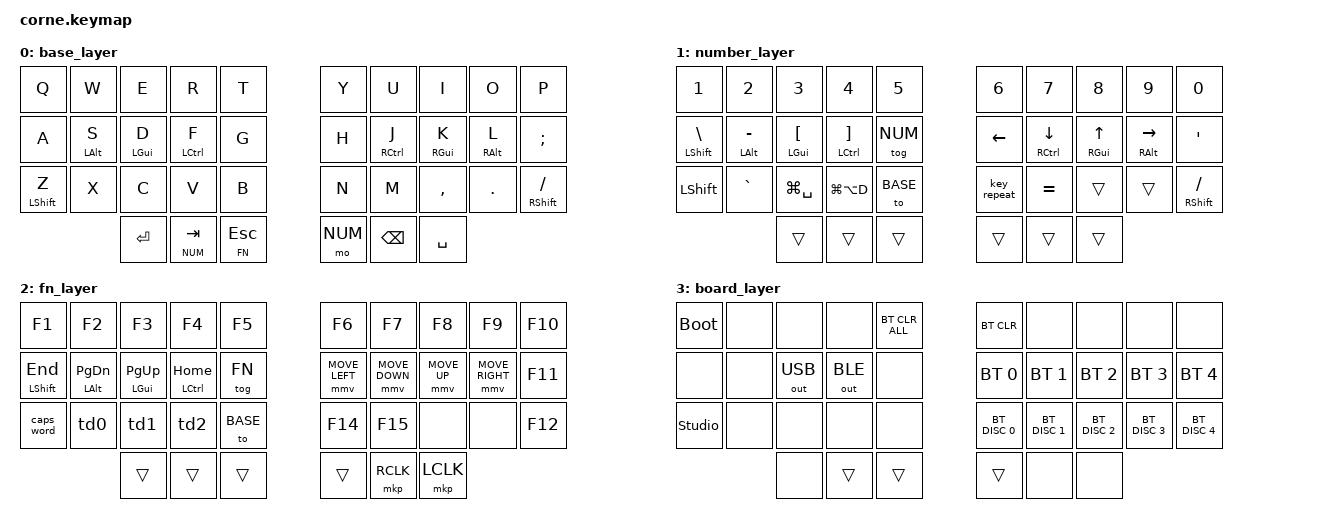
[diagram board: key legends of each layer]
#include <dt-bindings/zmk/keys.h>
#include <dt-bindings/zmk/outputs.h>
#include <dt-bindings/zmk/bt.h>
#include <dt-bindings/zmk/pointing.h>

#include <behaviors.dtsi>

#include "keys/36.h"

// global
#define QUICK_TAP_MS 150
#define TAPPING_TERM_MS 200
#define PRIOR_IDLE_MS 150

// layers
#define BASE 0
#define NUM 1
#define FN 2
#define BOARD 3

#define ___      &trans      //  transparent
#define _x_      &none

// tap: sticky-shift | shift + tap/ double-tap: caps-word | hold: shift
// ZMK_MOD_MORPH(smart_shift,
//     bindings = <&sk LSHFT>, <&caps_word>;
//     mods = <(MOD_LSFT)>;
// )

/ {
    behaviors {
        hml: home_row_mod_left {
            compatible = "zmk,behavior-hold-tap";
            #binding-cells = <2>;
            flavor = "balanced";
            require-prior-idle-ms = <PRIOR_IDLE_MS>;
            tapping-term-ms = <TAPPING_TERM_MS>;
            quick-tap-ms = <QUICK_TAP_MS>;
            bindings = <&kp>, <&kp>;
            hold-trigger-on-release;
        };
        hmr: home_row_mod_right {
            compatible = "zmk,behavior-hold-tap";
            #binding-cells = <2>;
            flavor = "balanced";
            require-prior-idle-ms = <PRIOR_IDLE_MS>;
            tapping-term-ms = <TAPPING_TERM_MS>;
            quick-tap-ms = <QUICK_TAP_MS>;
            bindings = <&kp>, <&kp>;
            hold-trigger-on-release;
        };
    };
};

/ {
  chosen {
    zmk,matrix_transform = &five_column_transform;
  };
};
/ {
  combos {
      compatible = "zmk,combos";
//      iu_backspace_combo {
//        timeout-ms = <50>; // Adjust as needed
//        bindings = <&kp COLON>; // Action: Backspace
//        key-positions = <16 17>;
//        layers = < BASE >;
//      };
//      jk_colon_combo {
//        timeout-ms = <50>; // Adjust as needed
//        bindings = <&smart_shift>; // Action: Backspace
//        key-positions = <12 13>;
//        layers = < BASE >;
//      };

  };
  behaviors {
    td0: tap_dance_0 {
       compatible = "zmk,behavior-tap-dance";
       #binding-cells = <0>;
       tapping-term-ms = <200>;
       bindings = <&kp C_VOL_DN>, <&kp C_PREV>;
    };
    td1: tap_dance_1 {
       compatible = "zmk,behavior-tap-dance";
       #binding-cells = <0>;
       tapping-term-ms = <200>;
       bindings = <&kp C_MUTE>, <&kp C_PP>;
    };
    td2: tap_dance_2 {
       compatible = "zmk,behavior-tap-dance";
       #binding-cells = <0>;
       tapping-term-ms = <200>;
       bindings = <&kp C_VOL_UP>, <&kp C_NEXT>;
    };
    shift_z: shift_z {
       compatible = "zmk,behavior-tap-dance";
       #binding-cells = <0>;
       tapping-term-ms = <200>;
       bindings = <&kp LSHIFT>, <&kp Z>;
    };
  };
  conditional_layers {
    compatible = "zmk,conditional-layers";
    tri_layer {
      if-layers = <1 2>;
      then-layer = <3>;
    };
  };
};

/ {
  keymap {
    compatible = "zmk,keymap";

    base_layer {
      bindings = <
        // |---------------|--------------|-------------|--------------|-------------|   |-----------|--------------|-------------|--------------|------------------|
        // |     Q         |      W       |     E       |      R       |     T       |   |     Y     |      U       |     I       |     O        |         P        |
              &kp Q            &kp W          &kp E         &kp R         &kp T             &kp Y       &kp U         &kp I          &kp O              &kp P
        // |---------------|--------------|-------------|--------------|-------------|   |-----------|--------------|-------------|--------------|------------------|
        // |     A         |      S       |     D       |      F       |     G       |   |     H     |      J       |     K       |     L        |         ;        |
                &kp A         &hml LALT S   &hml LGUI D  &hml LCTRL F    &kp G             &kp H      &hmr RCTRL J   &hmr RGUI K    &hmr RALT L         &kp SEMI
        // |---------------|--------------|-------------|--------------|-------------|   |-----------|--------------|-------------|--------------|------------------|
        // |     Z         |      X       |     C       |      V       |     B       |   |     N     |      M       |     ,       |     .        |         /        |
             &mt LSHIFT Z       &kp X         &kp C          &kp V         &kp B             &kp N        &kp M         &kp COMMA     &kp DOT      &mt RSHIFT FSLH
        // |---------------|--------------|-------------|--------------|-------------|   |-----------|--------------|-------------|--------------|------------------|
                                             &kp RETURN    &lt NUM TAB   &lt FN ESC         &mo NUM     &kp BSPC       &kp SPACE
        //                                |-------------|--------------|-------------|   |-----------|--------------|-------------|
      >;
    };

    number_layer {
      bindings = <
        // |---------------|---------------|---------------|----------------|-------------|   |-----------|----------------|-------------|---------------|-----------------|
        // |      1        |        2      |       3       |       4        |     5       |   |     6     |      7         |     8       |       9       |         0       |
               &kp N1            &kp N2         &kp N3          &kp N4         &kp N5            &kp N6       &kp N7           &kp N8          &kp N9            &kp N0
        // |---------------|---------------|---------------|----------------|-------------|   |-----------|----------------|-------------|---------------|-----------------|
        // |      \        |        -      |      [        |       ]        | Lock Layer  |   |    Left   |      Down      |      Up     |     Right     |        '        |
            &hml LSHIFT BSLH &hml LALT MINUS &hml LGUI LBKT &hml LCTRL RBKT    &tog NUM         &kp LEFT   &hmr RCTRL DOWN &hmr RGUI UP   &hmr RALT RIGHT  &kp APOS
        // |---------------|---------------|---------------|----------------|-------------|   |-----------|----------------|-------------|---------------|-----------------|
        // |    shift      |        `      |   Spotlight   |   Toggle dock  |    BASE     |   |   Repeat  |      =         |             |               |        /        |
              &kp LSHIFT      &kp GRAVE      &kp LG(SPACE)   &kp LG(LA(D))     &to BASE        &key_repeat    &kp EQUAL          ___            ___        &mt RSHIFT FSLH
        // |---------------|---------------|---------------|----------------|-------------|   |-----------|----------------|-------------|---------------|-----------------|
                                                  ___             ___             ___              ___           ___             ___
        //                                 |---------------|----------------|-------------|   |-----------|----------------|-------------|
      >;
    };

    fn_layer {
      bindings = <
        // |---------------|---------------|----------------|----------------|-------------|   |--------------|---------------|------------|---------------|-----------------|
        // |     F1        |       F2      |      F3        |      F4        |    F5       |   |     F6       |     F7        |    F8      |      F9       |       F10       |
               &kp F1            &kp F2         &kp F3           &kp F4         &kp F5             &kp F6         &kp F7        &kp F8          &kp F9           &kp F10
        // |---------------|---------------|----------------|----------------|-------------|   |--------------|---------------|------------|---------------|-----------------|
        // |     End       |      PgUp     |     PgDn       |     Home       | Lock Layer  |   | Mouse Left   |  Mouse Down   |  Mouse Up  |  Mouse Right  |      F11        |
            &hml LSHIFT END &hml LALT PG_DN &hml LGUI PG_UP  &hml LCTRL HOME    &tog FN         &mmv MOVE_LEFT &mmv MOVE_DOWN  &mmv MOVE_UP &mmv MOVE_RIGHT    &kp F11
        // |---------------|---------------|----------------|----------------|-------------|   |--------------|---------------|------------|---------------|-----------------|
        // |   caps word   |    Vol-;Prev  |   Mute;Play    |   Vol+;FF      |    BASE     |   |  F14/Bright- |  F15/Bright+  |            |               |      F12        |
              &caps_word          &td0           &td1             &td2          &to BASE            &kp F14       &kp F15          _x_           _x_            &kp F12
        // |---------------|---------------|----------------|----------------|-------------|   |--------------|---------------|------------|---------------|-----------------|
                                                  ___              ___            ___                 ___         &mkp RCLK     &mkp LCLK
        //                                 |----------------|----------------|-------------|   |--------------|---------------|------------|
      >;

    };

    board_layer {
      bindings = <
        // |---------------|---------------|--------------|---------------|-------------|   |------------|---------------|------------|---------------|-----------------|
              &bootloader         _x_            _x_            _x_        &bt BT_CLR_ALL     &bt BT_CLR       _x_            _x_            _x_              _x_
        // |---------------|---------------|--------------|---------------|-------------|   |------------|---------------|------------|---------------|-----------------|
                  _x_             _x_        &out OUT_USB   &out OUT_BLE        _x_          &bt BT_SEL 0 &bt BT_SEL 1    &bt BT_SEL 2 &bt BT_SEL 3      &bt BT_SEL 4
        // |---------------|---------------|--------------|---------------|-------------|   |------------|---------------|------------|---------------|-----------------|
             &studio_unlock       _x_            _x_            _x_             _x_          &bt BT_DISC 0 &bt BT_DISC 1  &bt BT_DISC 2 &bt BT_DISC 3   &bt BT_DISC 4
        // |---------------|---------------|--------------|---------------|-------------|   |------------|---------------|------------|---------------|-----------------|
                                                 _x_            ___              ___              ___          _x_           _x_
        //                                 |--------------|---------------|-------------|   |------------|---------------|------------|
      >;

    };

  };
};


// vim:ft=cpp
